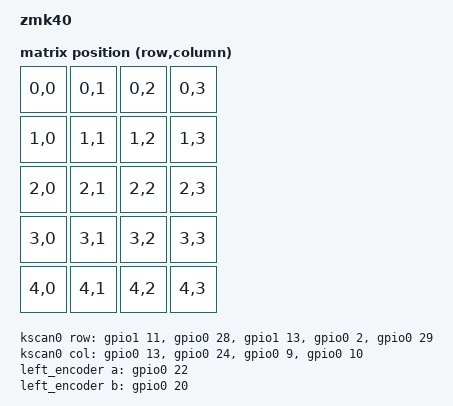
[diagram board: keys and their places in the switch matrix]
/*
 * Copyright (c) 2020 The ZMK Contributors
 *
 * SPDX-License-Identifier: MIT
 */

/dts-v1/;
#include <nordic/nrf52840_qiaa.dtsi>
#include <dt-bindings/zmk/matrix_transform.h>

#include "zmk40-layouts.dtsi"

/ {
	model = "zmk40";
	compatible = "zmk40";

	chosen {
		zephyr,code-partition = &code_partition;
		zephyr,sram = &sram0;
		zephyr,flash = &flash0;
		zmk,kscan = &kscan0;
        zmk,physical-layout = &layout_0;
		// zmk,underglow = &led_strip;
	};
 
	kscan0: kscan {
		compatible = "zmk,kscan-gpio-matrix";
		label = "KSCAN";
		diode-direction = "col2row";
		row-gpios
			= <&gpio1 11 (GPIO_ACTIVE_HIGH | GPIO_PULL_DOWN)>
			, <&gpio0 28 (GPIO_ACTIVE_HIGH | GPIO_PULL_DOWN)>
			, <&gpio1 13 (GPIO_ACTIVE_HIGH | GPIO_PULL_DOWN)>
            , <&gpio0 2  (GPIO_ACTIVE_HIGH | GPIO_PULL_DOWN)>             
			, <&gpio0 29 (GPIO_ACTIVE_HIGH | GPIO_PULL_DOWN)>
			;
		col-gpios
			= <&gpio0 13  GPIO_ACTIVE_HIGH>
			, <&gpio0 24  GPIO_ACTIVE_HIGH>
			, <&gpio0 9   GPIO_ACTIVE_HIGH>
			, <&gpio0 10  GPIO_ACTIVE_HIGH>
			;
	};

    default_transform: keymap_transform_0 {
        // See https://zmk.dev/docs/development/hardware-integration/new-shield#matrix-transform
        // for how to configure this
        compatible = "zmk,matrix-transform";
        columns = <4>;
        rows = <5>;

        map = <
            RC(0,0) RC(0,1) RC(0,2) RC(0,3)
            RC(1,0) RC(1,1) RC(1,2) RC(1,3)
            RC(2,0) RC(2,1) RC(2,2) RC(2,3)
            RC(3,0) RC(3,1) RC(3,2) RC(3,3)
            RC(4,0) RC(4,1) RC(4,2) RC(4,3)
            >;
    };

	sensors {
    	compatible = "zmk,keymap-sensors";
    	sensors = <&left_encoder>;
        triggers-per-rotation = <30>;
	};

	left_encoder: encoder_left {
        compatible = "alps,ec11";
        label = "LEFT_ENCODER";
        a-gpios = <&gpio0 22 (GPIO_ACTIVE_HIGH | GPIO_PULL_UP)>;
        b-gpios = <&gpio0 20 (GPIO_ACTIVE_HIGH | GPIO_PULL_UP)>;
        steps = <30>;
    };

	ext-power {
		compatible = "zmk,ext-power-generic";
		label = "EXT_POWER";
		control-gpios = <&gpio0 4 GPIO_ACTIVE_LOW>;
	};

	vbatt {
		compatible = "zmk,battery-nrf-vddh";
		label = "BATTERY";
		io-channels = <&adc 2>;
		output-ohms = <2000000>;
		full-ohms = <(2000000 + 806000)>;
	};
};

&adc {
	status = "okay";
};

&gpio0 {
	status = "okay";
};

&gpio1 {
	status = "okay";
};

&usbd {
	status = "okay";
};

zephyr_udc0: &usbd {
    status = "okay";
};


&flash0 {
	/*
	 * For more information, see:
	 * http://docs.zephyrproject.org/latest/devices/dts/flash_partitions.html
	 */
	partitions {
		compatible = "fixed-partitions";
		#address-cells = <1>;
		#size-cells = <1>;

		sd_partition: partition@0 {
			label = "softdevice";
			reg = <0x00000000 0x00026000>;
		};
		code_partition: partition@26000 {
			label = "code_partition";
			reg = <0x00026000 0x000c6000>;
		};

		/*
		 * The flash starting at 0x000ec000 and ending at
		 * 0x000f3fff is reserved for use by the application.
		 */

		/*
		 * Storage partition will be used by FCB/LittleFS/NVS
		 * if enabled.
		 */
		storage_partition: partition@ec000 {
			label = "storage";
			reg = <0x000ec000 0x00008000>;
		};

		boot_partition: partition@f4000 {
			label = "adafruit_boot";
			reg = <0x000f4000 0x0000c000>;
		};
	};
};
